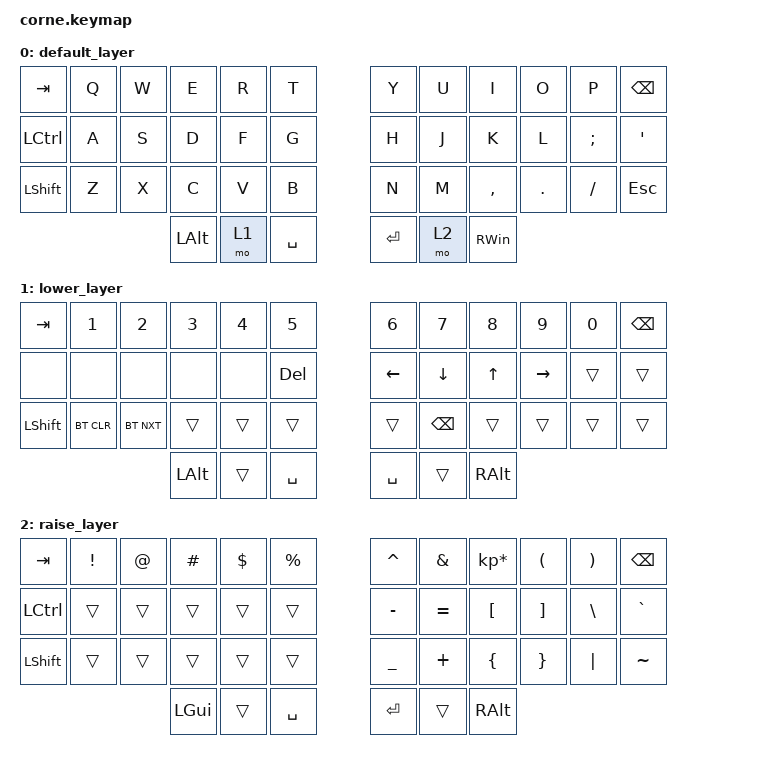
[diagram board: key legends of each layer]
/*
 * Copyright (c) 2020 The ZMK Contributors
 *
 * SPDX-License-Identifier: MIT
 */

#include <behaviors.dtsi>
#include <dt-bindings/zmk/bt.h>
#include <dt-bindings/zmk/keys.h>

/ {
    combos {
        compatible = "zmk,combos";

        shift {
            bindings = <&kp RIGHT_SHIFT>;
            key-positions = <8 9>;
        };

        caps_word {
            bindings = <&caps_word>;
            key-positions = <17 18>;
        };

        delete {
            bindings = <&kp DELETE>;
            key-positions = <32 33>;
        };
    };

    keymap {
        compatible = "zmk,keymap";

        default_layer {
            // -----------------------------------------------------------------------------------------
            // |  TAB |  Q  |  W  |  E  |  R  |  T  |   |  Y  |  U   |  I  |  O  |  P  | BKSP |
            // | CTRL |  A  |  S  |  D  |  F  |  G  |   |  H  |  J   |  K  |  L  |  ;  |  '   |
            // | SHFT |  Z  |  X  |  C  |  V  |  B  |   |  N  |  M   |  ,  |  .  |  /  | ESC  |
            //                    | GUI | LWR | SPC |   | ENT | RSE  | ALT |

            bindings = <
&kp TAB    &kp Q  &kp W  &kp E         &kp R  &kp T        &kp Y    &kp U  &kp I      &kp O    &kp P     &kp BSPC
&kp LCTRL  &kp A  &kp S  &kp D         &kp F  &kp G        &kp H    &kp J  &kp K      &kp L    &kp SEMI  &kp SQT
&kp LSHFT  &kp Z  &kp X  &kp C         &kp V  &kp B        &kp N    &kp M  &kp COMMA  &kp DOT  &kp FSLH  &kp ESC
                         &kp LEFT_ALT  &mo 1  &kp SPACE    &kp RET  &mo 2  &kp RWIN
            >;
        };

        lower_layer {
            // -----------------------------------------------------------------------------------------
            // |  TAB |  1  |  2  |  3  |  4  |  5  |   |  6  |  7  |  8  |  9  |  0  | BKSP |
            // | BTCLR| BT1 | BT2 | BT3 | BT4 | BT5 |   | LFT | DWN |  UP | RGT |     |      |
            // | SHFT |     |     |     |     |     |   |     |     |     |     |     |      |
            //                    | GUI |     | SPC |   | ENT |     | ALT |

            bindings = <
&kp TAB    &kp N1      &kp N2      &kp N3        &kp N4  &kp N5       &kp N6     &kp N7         &kp N8    &kp N9     &kp N0  &kp BSPC
&none      &none       &none       &none         &none   &kp DEL      &kp LEFT   &kp DOWN       &kp UP    &kp RIGHT  &trans  &trans
&kp LSHFT  &bt BT_CLR  &bt BT_NXT  &trans        &trans  &trans       &trans     &kp BACKSPACE  &trans    &trans     &trans  &trans
                                   &kp LEFT_ALT  &trans  &kp SPACE    &kp SPACE  &trans         &kp RALT
            >;
        };

        raise_layer {
            // -----------------------------------------------------------------------------------------
            // |  TAB |  !  |  @  |  #  |  $  |  %  |   |  ^  |  &  |  *  |  (  |  )  | BKSP |
            // | CTRL |     |     |     |     |     |   |  -  |  =  |  [  |  ]  |  \  |  `   |
            // | SHFT |     |     |     |     |     |   |  _  |  +  |  {  |  }  | "|" |  ~   |
            //                    | GUI |     | SPC |   | ENT |     | ALT |

            bindings = <
&kp TAB    &kp EXCL  &kp AT  &kp HASH  &kp DLLR  &kp PRCNT    &kp CARET  &kp AMPS   &kp KP_MULTIPLY  &kp LPAR  &kp RPAR  &kp BSPC
&kp LCTRL  &trans    &trans  &trans    &trans    &trans       &kp MINUS  &kp EQUAL  &kp LBKT         &kp RBKT  &kp BSLH  &kp GRAVE
&kp LSHFT  &trans    &trans  &trans    &trans    &trans       &kp UNDER  &kp PLUS   &kp LBRC         &kp RBRC  &kp PIPE  &kp TILDE
                             &kp LGUI  &trans    &kp SPACE    &kp RET    &trans     &kp RALT
            >;
        };
    };
};
